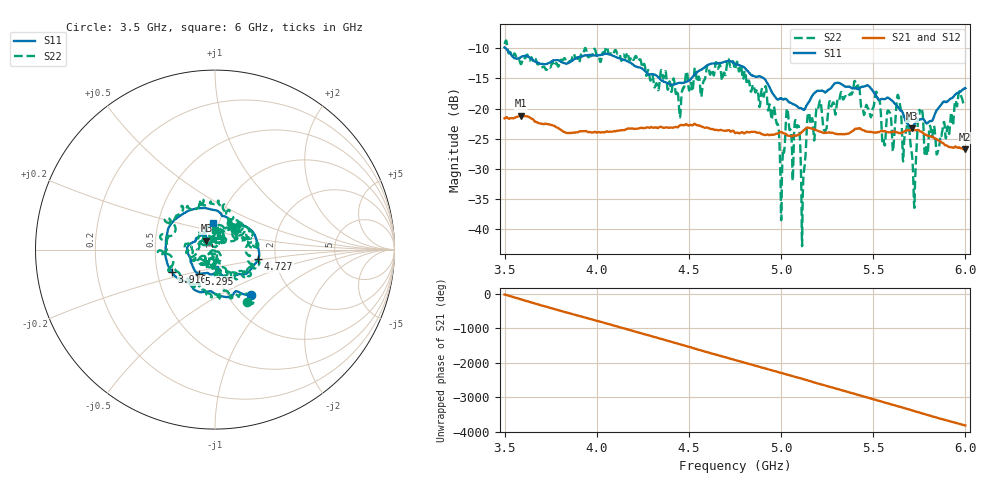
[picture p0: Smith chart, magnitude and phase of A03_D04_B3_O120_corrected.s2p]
! Created with skrf 1.9.0 (http://scikit-rf.org).
# Hz S RI R 50.0
!freq ReS11 ImS11 ReS21 ImS21 ReS12 ImS12 ReS22 ImS22
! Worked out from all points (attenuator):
!   1601 points, 3.5 GHz to 6 GHz, reference 50 ohm
!   highest |S21| = -21.19 dB at 3.587 GHz (marker M1); lowest = -26.8 dB at 5.997 GHz (marker M2)
!   lowest |S11| = -23.3 dB at 5.708 GHz (marker M3), VSWR 1.15, Z = 45.2 + j4.49 ohm
!   |S11| at or under -10 dB: 3.506 GHz to end of sweep
!   |S22| runs from -42.9 to -8.7 dB; largest |S21 - S12| = 0.0012
!   S11 on the Smith chart (normalised r, x): 3.5 GHz: 1.27, -0.72; 3.916 GHz: 0.60, -0.16; 4.727 GHz: 1.62, -0.18; 5.295 GHz: 0.81, -0.22; 6 GHz: 0.94, +0.28
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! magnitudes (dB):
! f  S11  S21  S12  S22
! 3.5 GHz  -9.8  -21.6  -21.6  -9.3
! 3.587 GHz  -11.5  -21.2  -21.1  -12.6
! 3.916 GHz  -11.4  -23.8  -23.7  -10.9
! 3.917 GHz  -11.4  -23.8  -23.7  -10.7
! 4.334 GHz  -14.9  -23.2  -23.1  -17.0
! 4.727 GHz  -12.1  -23.9  -23.7  -13.1
! 4.75 GHz  -12.6  -24.1  -24.0  -13.5
! 4.911 GHz  -15.1  -24.4  -24.3  -17.0
! 5.005 GHz  -18.3  -24.0  -23.9  -31.2
! 5.033 GHz  -18.6  -24.5  -24.3  -20.0
! 5.086 GHz  -19.6  -24.5  -24.4  -23.2
! 5.12 GHz  -20.2  -23.7  -23.6  -31.8
! 5.167 GHz  -18.0  -23.3  -23.3  -21.6
! 5.295 GHz  -15.8  -24.2  -24.1  -21.0
! 5.584 GHz  -18.3  -23.9  -23.9  -20.4
! 5.639 GHz  -20.0  -24.1  -24.0  -18.3
! 5.708 GHz  -23.3  -23.6  -23.6  -27.2
! 5.725 GHz  -22.5  -23.6  -23.5  -34.9
! 5.756 GHz  -21.8  -23.8  -23.7  -20.8
! 5.852 GHz  -20.0  -25.3  -25.2  -27.1
! 5.997 GHz  -16.7  -26.8  -26.7  -19.5
! 6 GHz  -16.6  -26.8  -26.7  -19.5
